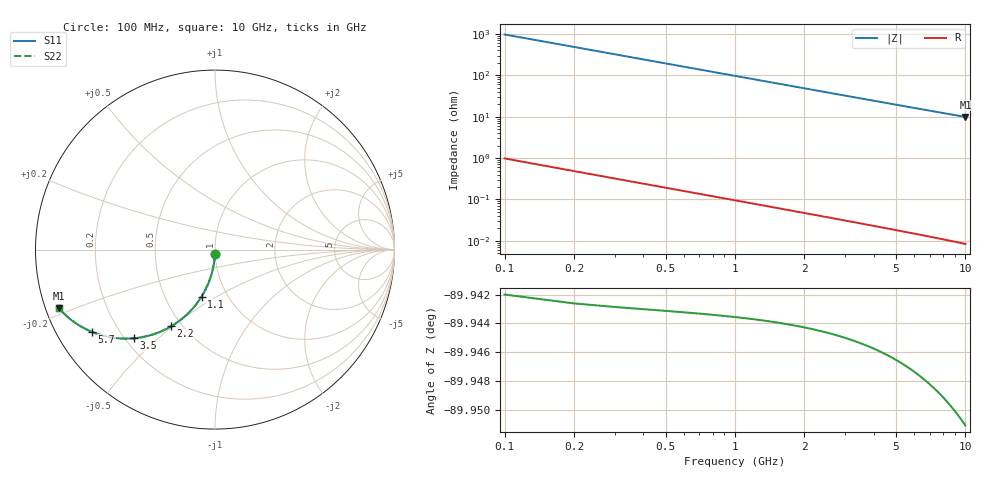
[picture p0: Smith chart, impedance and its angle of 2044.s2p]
# Hz S RI R 50.00
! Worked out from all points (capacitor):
!   100 points, 100 MHz to 10 GHz, reference 50 ohm
!   read as one part in shunt: C = 1.65 pF near 100 MHz
!   lowest |Z| = 9.87 ohm at 10 GHz (marker M1)
!   S11 on the Smith chart (normalised r, x): 100 MHz: 1.00, -0.05; 1.1 GHz: 0.76, -0.43; 2.2 GHz: 0.44, -0.49; 3.5 GHz: 0.24, -0.42; 5.7 GHz: 0.11, -0.30; 10 GHz: 0.04, -0.18
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1e8  -0.000633 -0.0257  0.9992 -0.0259  0.9992 -0.0259  -0.000633 -0.0257
2e8  -0.00265 -0.0514  0.9972 -0.0517  0.9972 -0.0517  -0.00265 -0.0514
3e8  -0.00599 -0.0768  0.9939 -0.0773  0.9939 -0.0773  -0.00599 -0.0768
4e8  -0.0106 -0.1019  0.9893 -0.1026  0.9893 -0.1026  -0.0106 -0.1019
5e8  -0.0165 -0.1266  0.9834 -0.1275  0.9834 -0.1275  -0.0165 -0.1266
6e8  -0.0236 -0.1508  0.9763 -0.1519  0.9763 -0.1519  -0.0236 -0.1508
7e8  -0.0318 -0.1744  0.9681 -0.1757  0.9681 -0.1757  -0.0318 -0.1744
9e8  -0.0514 -0.2197  0.9484 -0.2213  0.9484 -0.2213  -0.0514 -0.2197
1.1e9  -0.0749 -0.2618  0.925 -0.2638  0.925 -0.2638  -0.0749 -0.2618
1.4e9  -0.1159 -0.3184  0.884 -0.3209  0.884 -0.3209  -0.1159 -0.3184
1.8e9  -0.178 -0.3804  0.8218 -0.3837  0.8218 -0.3837  -0.178 -0.3804
2.2e9  -0.2444 -0.4273  0.7555 -0.4312  0.7555 -0.4312  -0.2444 -0.4273
2.8e9  -0.3437 -0.4719  0.6562 -0.477  0.6562 -0.477  -0.3437 -0.4719
3.4e9  -0.4356 -0.4922  0.5642 -0.4984  0.5642 -0.4984  -0.4356 -0.4922
3.5e9  -0.4499 -0.4938  0.5499 -0.5002  0.5499 -0.5002  -0.4499 -0.4938
4.3e9  -0.5525 -0.4928  0.4474 -0.5006  0.4474 -0.5006  -0.5525 -0.4928
5.1e9  -0.6346 -0.4764  0.3652 -0.4857  0.3652 -0.4857  -0.6346 -0.4764
5.7e9  -0.6845 -0.4589  0.3153 -0.4694  0.3153 -0.4694  -0.6845 -0.4589
6.7e9  -0.7499 -0.4263  0.2498 -0.4386  0.2498 -0.4386  -0.7499 -0.4263
7.5e9  -0.7899 -0.3999  0.2098 -0.4136  0.2098 -0.4136  -0.7899 -0.3999
8.4e9  -0.8252 -0.3714  0.1745 -0.3869  0.1745 -0.3869  -0.8252 -0.3714
1e10  -0.8702 -0.3261  0.1295 -0.3446  0.1295 -0.3446  -0.8702 -0.3261
